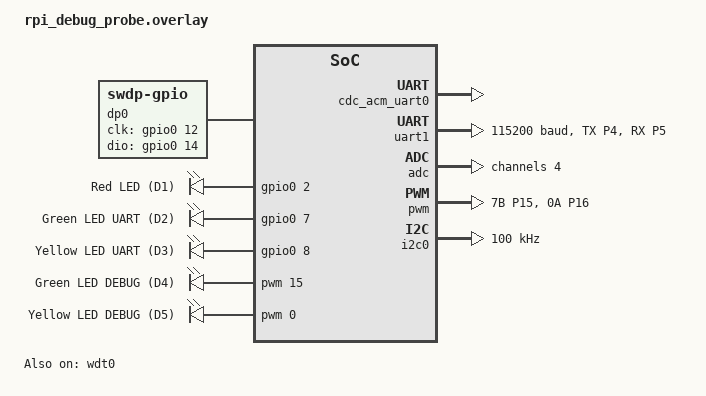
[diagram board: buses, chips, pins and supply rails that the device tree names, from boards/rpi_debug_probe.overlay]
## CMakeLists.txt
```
# SPDX-License-Identifier: AGPL-3.0-or-later
# Copyright (c) 2025 Vincent Jardin

cmake_minimum_required(VERSION 3.20.0)

find_package(Zephyr REQUIRED HINTS $ENV{ZEPHYR_BASE})
project(hello_bonjour)

# Include USB sample common code for manual USB device initialization
include(${ZEPHYR_BASE}/samples/subsys/usb/common/common.cmake)

target_sources(app PRIVATE
    src/main.c
    src/shell_cmds.c
    src/watchdog.c
    src/leds.c
)
```

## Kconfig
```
# SPDX-License-Identifier: AGPL-3.0-or-later
# Copyright (c) 2025 Vincent Jardin

mainmenu "Debug Probe Application"

# Source USB sample Kconfig for SAMPLE_USBD_* options
source "$(ZEPHYR_BASE)/samples/subsys/usb/common/Kconfig.sample_usbd"

source "Kconfig.zephyr"
```

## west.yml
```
manifest:
  remotes:
    - name: zephyrproject-rtos
      url-base: https://github.com/zephyrproject-rtos

  projects:
    - name: zephyr
      remote: zephyrproject-rtos
      revision: main
      import:
        name-allowlist:
          - cmsis
          - cmsis_6
          - hal_rpi_pico

  self:
    path: picoprobe-hello
```

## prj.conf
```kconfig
# SPDX-License-Identifier: AGPL-3.0-or-later
# Copyright (c) 2025 Vincent Jardin

# Enable console/UART output
CONFIG_CONSOLE=y
CONFIG_SERIAL=y
CONFIG_UART_CONSOLE=y
CONFIG_UART_LINE_CTRL=y
CONFIG_UART_INTERRUPT_DRIVEN=y

# Enable USB CDC for console (new USB device stack)
CONFIG_USB_DEVICE_STACK_NEXT=y
CONFIG_USBD_CDC_ACM_CLASS=y
# Disable automatic USB init - we initialize manually for DAP+CDC
CONFIG_CDC_ACM_SERIAL_INITIALIZE_AT_BOOT=n

# USB device sample configuration (for manual USB init)
CONFIG_SAMPLE_USBD_MANUFACTURER="RPi-vjardin"
CONFIG_SAMPLE_USBD_PRODUCT="Debug Probe DAP"
CONFIG_SAMPLE_USBD_VID=0x2E8A
CONFIG_SAMPLE_USBD_PID=0x000A
CONFIG_SAMPLE_USBD_20_EXTENSION_DESC=y

# Enable printk
CONFIG_PRINTK=y

# Enable GPIO for LED control
CONFIG_GPIO=y

# Enable Zephyr Shell
CONFIG_SHELL=y
CONFIG_SHELL_BACKEND_SERIAL=y
CONFIG_SHELL_PROMPT_UART="debug-probe:~$ "

# Shell features
CONFIG_SHELL_CMDS=y
CONFIG_SHELL_TAB=y
CONFIG_SHELL_TAB_AUTOCOMPLETION=y
CONFIG_SHELL_HISTORY=y
CONFIG_SHELL_HISTORY_BUFFER=512
CONFIG_SHELL_HELP=y
CONFIG_SHELL_VT100_COLORS=y
CONFIG_SHELL_METAKEYS=y
CONFIG_SHELL_WILDCARD=y

# Useful built-in commands
CONFIG_KERNEL_SHELL=y
CONFIG_DEVICE_SHELL=y
CONFIG_DATE_SHELL=y
CONFIG_REBOOT=y

# GPIO shell - direct pin control
CONFIG_GPIO_SHELL=y

# Hardware info - device ID, reset cause
CONFIG_HWINFO=y
CONFIG_HWINFO_SHELL=y

# Flash shell - read/write/erase flash
CONFIG_FLASH=y
CONFIG_FLASH_PAGE_LAYOUT=y
CONFIG_FLASH_SHELL=y

# USB device shell - control USB stack
CONFIG_USBD_SHELL=y

# Logging with shell control
CONFIG_LOG=y
CONFIG_LOG_CMDS=y
CONFIG_SHELL_LOG_BACKEND=y

# Suppress CDC ACM log warning (logging disabled to prevent recursion when used as console)
CONFIG_USBD_CDC_ACM_LOG_LEVEL_OFF=y

# CRC shell - checksum utilities
CONFIG_CRC=y
CONFIG_CRC_SHELL=y

# PWM shell - LED brightness control
CONFIG_PWM=y
CONFIG_PWM_SHELL=y

# ADC shell - internal temperature sensor
CONFIG_ADC=y
CONFIG_ADC_SHELL=y

# I2C shell - bus scanning
CONFIG_I2C=y
CONFIG_I2C_SHELL=y

# Watchdog shell
CONFIG_WATCHDOG=y
CONFIG_WDT_SHELL=y

# POSIX uname command
CONFIG_POSIX_API=y
CONFIG_POSIX_SINGLE_PROCESS=y
CONFIG_POSIX_UNAME_SHELL=y

# Increase stack for shell
CONFIG_MAIN_STACK_SIZE=2048

# CMSIS-DAP Debug Access Port
CONFIG_DAP=y
CONFIG_DAP_BACKEND_USB=y
CONFIG_CMSIS_DAP_PROBE_VENDOR="RPi-vjardin"
CONFIG_CMSIS_DAP_PROBE_NAME="Debug Probe DAP"
```

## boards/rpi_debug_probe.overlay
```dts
/*
 * SPDX-License-Identifier: AGPL-3.0-or-later
 * Copyright (c) 2025 Vincent Jardin
 *
 * Device tree overlay for Raspberry Pi Debug Probe
 * Routes console/shell to USB CDC ACM
 * Configures UART1 (GPIO4=TX, GPIO5=RX) for Bonjour output on J2 connector
 * Defines all 5 LEDs on the Debug Probe board
 */

#include <zephyr/dt-bindings/gpio/gpio.h>
#include <zephyr/dt-bindings/pwm/pwm.h>
#include <zephyr/dt-bindings/pinctrl/rpi-pico-rp2040-pinctrl.h>
#include <zephyr/dt-bindings/i2c/i2c.h>

/ {
	chosen {
		zephyr,console = &cdc_acm_uart0;
		zephyr,shell-uart = &cdc_acm_uart0;
	};

	/* SWD Debug Port for CMSIS-DAP (J3 connector) */
	dp0 {
		compatible = "zephyr,swdp-gpio";
		status = "okay";
		clk-gpios = <&gpio0 12 GPIO_ACTIVE_HIGH>;
		dio-gpios = <&gpio0 14 GPIO_PULL_UP>;
		port-write-cycles = <1>;
	};

	/* GPIO-controlled LEDs (accent LEDs) */
	leds {
		compatible = "gpio-leds";
		led_red: led_d1 {
			gpios = <&gpio0 2 GPIO_ACTIVE_HIGH>;
			label = "Red LED (D1)";
		};
		led_green_uart: led_d2 {
			gpios = <&gpio0 7 GPIO_ACTIVE_HIGH>;
			label = "Green LED UART (D2)";
		};
		led_yellow_uart: led_d3 {
			gpios = <&gpio0 8 GPIO_ACTIVE_HIGH>;
			label = "Yellow LED UART (D3)";
		};
	};

	/* PWM-controlled LEDs (debug LEDs with brightness control) */
	pwmleds {
		compatible = "pwm-leds";
		led_green_debug: led_d4 {
			pwms = <&pwm 15 PWM_MSEC(20) PWM_POLARITY_NORMAL>;
			label = "Green LED DEBUG (D4)";
		};
		led_yellow_debug: led_d5 {
			pwms = <&pwm 0 PWM_MSEC(20) PWM_POLARITY_NORMAL>;
			label = "Yellow LED DEBUG (D5)";
		};
	};

	aliases {
		led-red = &led_red;
		led-green-uart = &led_green_uart;
		led-yellow-uart = &led_yellow_uart;
		led-green-debug = &led_green_debug;
		led-yellow-debug = &led_yellow_debug;
		pwm-led0 = &led_green_debug;
		pwm-led1 = &led_yellow_debug;
	};
};

&zephyr_udc0 {
	cdc_acm_uart0: cdc_acm_uart0 {
		compatible = "zephyr,cdc-acm-uart";
	};
};

&uart1 {
	status = "okay";
	current-speed = <115200>;
	pinctrl-0 = <&uart1_default>;
	pinctrl-names = "default";
};

&pinctrl {
	uart1_default: uart1_default {
		group1 {
			pinmux = <UART1_TX_P4>;
		};
		group2 {
			pinmux = <UART1_RX_P5>;
			input-enable;
		};
	};

	/* PWM for debug LEDs brightness control */
	pwm_debug_leds: pwm_debug_leds {
		group1 {
			pinmux = <PWM_7B_P15>,  /* D4 Green DEBUG - GPIO15 */
				 <PWM_0A_P16>; /* D5 Yellow DEBUG - GPIO16 */
		};
	};
};

/* Enable ADC for internal temperature sensor (channel 4) */
&adc {
	status = "okay";
	#address-cells = <1>;
	#size-cells = <0>;

	channel@4 {
		reg = <4>;
		zephyr,gain = "ADC_GAIN_1";
		zephyr,reference = "ADC_REF_INTERNAL";
		zephyr,acquisition-time = <ADC_ACQ_TIME_DEFAULT>;
		zephyr,resolution = <12>;
	};
};

/* Enable PWM for debug LED brightness control */
&pwm {
	status = "okay";
	pinctrl-0 = <&pwm_debug_leds>;
	pinctrl-names = "default";
};

/* Enable I2C0 for shell access */
&i2c0 {
	status = "okay";
	clock-frequency = <I2C_BITRATE_STANDARD>;
};

/* Enable watchdog - must be fed in main loop */
&wdt0 {
	status = "okay";
};
```

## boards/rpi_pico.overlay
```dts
/*
 * SPDX-License-Identifier: AGPL-3.0-or-later
 * Copyright (c) 2025 Vincent Jardin
 *
 * Device tree overlay for Raspberry Pi Debug Probe
 * Routes console/shell to USB CDC ACM
 * Configures UART1 (GPIO4=TX, GPIO5=RX) for Bonjour output on J2 connector
 * Defines all 5 LEDs on the Debug Probe board
 */

/ {
	chosen {
		zephyr,console = &cdc_acm_uart0;
		zephyr,shell-uart = &cdc_acm_uart0;
	};

	/* GPIO-controlled LEDs (accent LEDs) */
	leds {
		compatible = "gpio-leds";
		led_red: led_d1 {
			gpios = <&gpio0 2 GPIO_ACTIVE_HIGH>;
			label = "Red LED (D1)";
		};
		led_green_uart: led_d2 {
			gpios = <&gpio0 7 GPIO_ACTIVE_HIGH>;
			label = "Green LED UART (D2)";
		};
		led_yellow_uart: led_d3 {
			gpios = <&gpio0 8 GPIO_ACTIVE_HIGH>;
			label = "Yellow LED UART (D3)";
		};
	};

	/* PWM-controlled LEDs (debug LEDs with brightness control) */
	pwmleds {
		compatible = "pwm-leds";
		led_green_debug: led_d4 {
			pwms = <&pwm 15 PWM_MSEC(20) PWM_POLARITY_NORMAL>;
			label = "Green LED DEBUG (D4)";
		};
		led_yellow_debug: led_d5 {
			pwms = <&pwm 0 PWM_MSEC(20) PWM_POLARITY_NORMAL>;
			label = "Yellow LED DEBUG (D5)";
		};
	};

	aliases {
		led-red = &led_red;
		led-green-uart = &led_green_uart;
		led-yellow-uart = &led_yellow_uart;
		led-green-debug = &led_green_debug;
		led-yellow-debug = &led_yellow_debug;
		pwm-led0 = &led_green_debug;
		pwm-led1 = &led_yellow_debug;
	};
};

&zephyr_udc0 {
	cdc_acm_uart0: cdc_acm_uart0 {
		compatible = "zephyr,cdc-acm-uart";
	};
};

&uart1 {
	status = "okay";
	current-speed = <115200>;
	pinctrl-0 = <&uart1_default>;
	pinctrl-names = "default";
};

&pinctrl {
	uart1_default: uart1_default {
		group1 {
			pinmux = <UART1_TX_P4>;
		};
		group2 {
			pinmux = <UART1_RX_P5>;
			input-enable;
		};
	};

	/* PWM for debug LEDs brightness control */
	pwm_debug_leds: pwm_debug_leds {
		group1 {
			pinmux = <PWM_7B_P15>,  /* D4 Green DEBUG - GPIO15 */
				 <PWM_0A_P16>; /* D5 Yellow DEBUG - GPIO16 */
		};
	};
};

/* Enable ADC for internal temperature sensor (channel 4) */
&adc {
	status = "okay";
	#address-cells = <1>;
	#size-cells = <0>;

	channel@4 {
		reg = <4>;
		zephyr,gain = "ADC_GAIN_1";
		zephyr,reference = "ADC_REF_INTERNAL";
		zephyr,acquisition-time = <ADC_ACQ_TIME_DEFAULT>;
		zephyr,resolution = <12>;
	};
};

/* Enable PWM for debug LED brightness control */
&pwm {
	status = "okay";
	pinctrl-0 = <&pwm_debug_leds>;
	pinctrl-names = "default";
};

/* Enable I2C0 for shell access */
&i2c0 {
	status = "okay";
};

/* Enable watchdog - must be fed in main loop */
&wdt0 {
	status = "okay";
};
```

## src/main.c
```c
/*
 * SPDX-License-Identifier: AGPL-3.0-or-later
 * Copyright (c) 2025 Vincent Jardin
 */

#include <zephyr/kernel.h>
#include <zephyr/device.h>
#include <zephyr/drivers/uart.h>
#include <zephyr/irq.h>
#include <zephyr/sys/byteorder.h>
#include <zephyr/usb/usbd.h>
#include <zephyr/usb/bos.h>
#include <zephyr/usb/msos_desc.h>
#include <hardware/structs/ioqspi.h>
#include <hardware/structs/sio.h>

#include <zephyr/logging/log.h>
LOG_MODULE_REGISTER(main, LOG_LEVEL_INF);

#include <sample_usbd.h>
#include <cmsis_dap.h>

#include "msosv2.h"
#include "webusb.h"
#include "leds.h"
#include "watchdog.h"

/* Bonjour state from shell_cmds.c */
extern bool bonjour_enabled;

/* UART1 device for Bonjour output on J2 connector */
static const struct device *const uart1_dev = DEVICE_DT_GET(DT_NODELABEL(uart1));

/* Send string to UART1 (J2 connector) */
static void uart1_print(const char *str)
{
	while (*str) {
		uart_poll_out(uart1_dev, *str++);
	}
}

/*
 * Read BOOTSEL button state.
 *
 * The BOOTSEL button is wired to QSPI_SS (flash chip select). To read it,
 * we must temporarily disable flash access. This is dangerous because the
 * CPU normally fetches instructions from flash (XIP = eXecute In Place).
 *
 * The __ramfunc attribute places this function in RAM instead of flash.
 * At startup, the code is copied from flash to RAM. When called, the CPU
 * executes from RAM, allowing us to safely disable flash during the read.
 *
 * The sequence is:
 *   1. Disable interrupts (ISRs in flash would crash if flash is disabled)
 *   2. Override QSPI_SS pin to act as GPIO input (this disables flash!)
 *   3. Short delay for the signal to settle
 *   4. Read button state from the QSPI GPIO bank
 *   5. Restore QSPI_SS to normal operation (re-enables flash)
 *   6. Re-enable interrupts
 *
 * Without __ramfunc, the CPU would crash immediately when trying to fetch
 * the next instruction from the now-disabled flash.
 */
static bool __ramfunc get_bootsel_button(void)
{
	const uint32_t CS_PIN_INDEX = 1;
	unsigned int key = irq_lock();

	/*
	 * Set QSPI_SS output override to LOW (value 2).
	 * This drives the chip select low, disabling flash, so we can
	 * read the button state on that pin. The OEOVER field is bits 13:12.
	 */
	uint32_t oeover_low = 2u << IO_QSPI_GPIO_QSPI_SS_CTRL_OEOVER_LSB;
	hw_write_masked(&ioqspi_hw->io[CS_PIN_INDEX].ctrl,
			oeover_low,
			IO_QSPI_GPIO_QSPI_SS_CTRL_OEOVER_BITS);

	/* Short delay for the signal to settle */
	for (volatile int i = 0; i < 1000; ++i) {
		;
	}

	/* Read the button state (pressed = low = 0) */
	bool button_state = !(sio_hw->gpio_hi_in & (1u << CS_PIN_INDEX));

	/*
	 * Restore QSPI_SS output override to NORMAL (value 0).
	 * This re-enables normal flash operation.
	 */
	hw_write_masked(&ioqspi_hw->io[CS_PIN_INDEX].ctrl,
			0u,
			IO_QSPI_GPIO_QSPI_SS_CTRL_OEOVER_BITS);

	irq_unlock(key);

	return button_state;
}

int main(void)
{
	int ret;
	const struct device *const console_dev =
		DEVICE_DT_GET(DT_CHOSEN(zephyr_console));
	const struct device *const swd_dev =
		DEVICE_DT_GET_ONE(zephyr_swdp_gpio);
	struct usbd_context *sample_usbd;
	uint32_t dtr = 0;
	bool bootsel_msg_shown = false;

	/* Initialize CMSIS-DAP with the SWD device */
	ret = dap_setup(swd_dev);
	if (ret) {
		printk("Failed to initialize DAP: %d\n", ret);
		return ret;
	}

	/* Setup USB device with all registered classes (CDC ACM + DAP) */
	sample_usbd = sample_usbd_setup_device(NULL);
	if (sample_usbd == NULL) {
		printk("Failed to setup USB device\n");
		return -ENODEV;
	}

	/* Add MSOS v2 descriptor for automatic WinUSB driver on Windows */
	ret = usbd_add_descriptor(sample_usbd, &bos_vreq_msosv2);
	if (ret) {
		printk("Failed to add MSOS v2 descriptor: %d\n", ret);
		return ret;
	}

	/* Add WebUSB descriptor for browser-based debugging tools */
	ret = usbd_add_descriptor(sample_usbd, &bos_vreq_webusb);
	if (ret) {
		printk("Failed to add WebUSB descriptor: %d\n", ret);
		return ret;
	}

	ret = usbd_init(sample_usbd);
	if (ret) {
		printk("Failed to initialize USB: %d\n", ret);
		return ret;
	}

	ret = usbd_enable(sample_usbd);
	if (ret) {
		printk("Failed to enable USB: %d\n", ret);
		return ret;
	}

	/*
	 * Wait for DTR (terminal connected) before starting.
	 * Timeout after 3 seconds to allow simulation without DTR support.
	 */
	if (device_is_ready(console_dev)) {
		int dtr_timeout = 30; /* 30 * 100ms = 3 seconds */

		while (!dtr && dtr_timeout > 0) {
			uart_line_ctrl_get(console_dev, UART_LINE_CTRL_DTR,
					   &dtr);
			k_sleep(K_MSEC(100));
			dtr_timeout--;
		}
	}

	/* Check UART1 for Bonjour output */
	if (!device_is_ready(uart1_dev)) {
		printk("UART1 device not ready\n");
	}

	printk("Starting Debug Probe LED demo...\n");
	printk("Note: I2C shell disabled - GPIO4/5 used by UART1 (J2 connector)\n");

	/* Initialize LEDs */
	ret = leds_init();
	if (ret < 0) {
		return ret;
	}

	/* Initialize watchdog */
	watchdog_init();

	uint32_t loop_count = 0;

	while (1) {
		/* Check BOOTSEL button and Bonjour ~once per second (64ms * 16 = 1024ms) */
		if ((loop_count & 0x0F) == 0) {
			if (get_bootsel_button()) {
				if (!bootsel_msg_shown) {
					printk("BOOTSEL pressed, "
					       "unplug/plug USB to flash a new firmware\n");
					bootsel_msg_shown = true;
				}
			} else {
				bootsel_msg_shown = false;
				if (bonjour_enabled) {
					uart1_print("Bonjour\r\n");
				}
			}

			/* Toggle GPIO LEDs once per second */
			leds_gpio_toggle();
		}

		/* Update PWM LEDs with breathing effect */
		leds_pwm_update();

		/* Feed the watchdog to prevent reset */
		watchdog_feed();

		loop_count++;
		k_sleep(K_MSEC(64));
	}

	return 0;
}
```

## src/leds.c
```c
/*
 * SPDX-License-Identifier: AGPL-3.0-or-later
 * Copyright (c) 2025 Vincent Jardin
 *
 * LED management for Debug Probe
 */

#include <zephyr/kernel.h>
#include <zephyr/drivers/gpio.h>
#include <zephyr/drivers/pwm.h>
#include <zephyr/shell/shell.h>
#include <stdlib.h>

#include "leds.h"

/* GPIO-controlled LEDs (accent LEDs: D1, D2, D3) */
#define NUM_GPIO_LEDS 3

static const struct gpio_dt_spec gpio_leds[NUM_GPIO_LEDS] = {
	GPIO_DT_SPEC_GET(DT_ALIAS(led_red), gpios),
	GPIO_DT_SPEC_GET(DT_ALIAS(led_green_uart), gpios),
	GPIO_DT_SPEC_GET(DT_ALIAS(led_yellow_uart), gpios),
};

/* PWM-controlled LEDs (debug LEDs: D4, D5) with brightness control */
#define NUM_PWM_LEDS 2

static const struct pwm_dt_spec pwm_leds[NUM_PWM_LEDS] = {
	PWM_DT_SPEC_GET(DT_ALIAS(pwm_led0)),
	PWM_DT_SPEC_GET(DT_ALIAS(pwm_led1)),
};

/* PWM brightness state */
static uint32_t pwm_brightness[NUM_PWM_LEDS] = {0, 0};
static uint32_t breathing_brightness = 0;
static bool breathing_increasing = true;
static bool breathing_enabled = true;

#define PWM_STEP 5
#define PWM_MAX 100

int leds_init(void)
{
	int ret;

	/* Initialize GPIO LEDs (D1, D2, D3) */
	for (int i = 0; i < NUM_GPIO_LEDS; i++) {
		if (!gpio_is_ready_dt(&gpio_leds[i])) {
			printk("GPIO LED%d not ready\n", i);
			return -ENODEV;
		}

		ret = gpio_pin_configure_dt(&gpio_leds[i], GPIO_OUTPUT_ACTIVE);
		if (ret < 0) {
			printk("Failed to configure GPIO LED%d: %d\n", i, ret);
			return ret;
		}
	}

	/* Initialize PWM LEDs (D4, D5) */
	for (int i = 0; i < NUM_PWM_LEDS; i++) {
		if (!pwm_is_ready_dt(&pwm_leds[i])) {
			printk("PWM LED%d not ready\n", i);
			return -ENODEV;
		}
	}

	printk("LEDs initialized (3 GPIO + 2 PWM)\n");
	return 0;
}

void leds_gpio_toggle(void)
{
	for (int i = 0; i < NUM_GPIO_LEDS; i++) {
		gpio_pin_toggle_dt(&gpio_leds[i]);
	}
}

void leds_pwm_update(void)
{
	if (breathing_enabled) {
		/* Update breathing brightness */
		if (breathing_increasing) {
			breathing_brightness += PWM_STEP;
			if (breathing_brightness >= PWM_MAX) {
				breathing_brightness = PWM_MAX;
				breathing_increasing = false;
			}
		} else {
			breathing_brightness -= PWM_STEP;
			if (breathing_brightness == 0) {
				breathing_increasing = true;
			}
		}

		/* Apply breathing to both PWM LEDs */
		for (int i = 0; i < NUM_PWM_LEDS; i++) {
			pwm_brightness[i] = breathing_brightness;
			uint32_t pulse = (pwm_leds[i].period * breathing_brightness) / PWM_MAX;
			pwm_set_pulse_dt(&pwm_leds[i], pulse);
		}
	}
}

int leds_pwm_set_brightness(int led, uint32_t brightness)
{
	if (led < 0 || led >= NUM_PWM_LEDS) {
		return -EINVAL;
	}

	if (brightness > PWM_MAX) {
		brightness = PWM_MAX;
	}

	pwm_brightness[led] = brightness;
	uint32_t pulse = (pwm_leds[led].period * brightness) / PWM_MAX;
	return pwm_set_pulse_dt(&pwm_leds[led], pulse);
}

int leds_pwm_get_brightness(int led)
{
	if (led < 0 || led >= NUM_PWM_LEDS) {
		return -EINVAL;
	}

	return pwm_brightness[led];
}

void leds_pwm_set_breathing(bool enable)
{
	breathing_enabled = enable;
}

bool leds_pwm_get_breathing(void)
{
	return breathing_enabled;
}

/* Shell commands */

static int cmd_led_status(const struct shell *sh, size_t argc, char **argv)
{
	shell_print(sh, "GPIO LEDs: D1 (red), D2 (green), D3 (yellow) - toggling");
	shell_print(sh, "PWM LEDs:");
	shell_print(sh, "  D4 (green debug): %d%%", pwm_brightness[0]);
	shell_print(sh, "  D5 (yellow debug): %d%%", pwm_brightness[1]);
	shell_print(sh, "Breathing: %s", breathing_enabled ? "enabled" : "disabled");

	return 0;
}

static int cmd_led_brightness(const struct shell *sh, size_t argc, char **argv)
{
	if (argc < 3) {
		shell_error(sh, "Usage: led brightness <led> <0-100>");
		shell_print(sh, "  led: 0 = D4 (green), 1 = D5 (yellow)");
		return -EINVAL;
	}

	int led = atoi(argv[1]);
	int brightness = atoi(argv[2]);

	if (led < 0 || led > 1) {
		shell_error(sh, "Invalid LED: %d (use 0 or 1)", led);
		return -EINVAL;
	}

	if (brightness < 0 || brightness > 100) {
		shell_error(sh, "Invalid brightness: %d (use 0-100)", brightness);
		return -EINVAL;
	}

	/* Disable breathing when manually setting brightness */
	breathing_enabled = false;

	int ret = leds_pwm_set_brightness(led, brightness);
	if (ret < 0) {
		shell_error(sh, "Failed to set brightness: %d", ret);
		return ret;
	}

	shell_print(sh, "D%d brightness set to %d%% (breathing disabled)",
		    led == 0 ? 4 : 5, brightness);

	return 0;
}

static int cmd_led_breathing(const struct shell *sh, size_t argc, char **argv)
{
	if (argc < 2) {
		shell_print(sh, "Breathing: %s", breathing_enabled ? "enabled" : "disabled");
		return 0;
	}

	if (strcmp(argv[1], "on") == 0) {
		breathing_enabled = true;
		shell_print(sh, "Breathing enabled");
	} else if (strcmp(argv[1], "off") == 0) {
		breathing_enabled = false;
		shell_print(sh, "Breathing disabled");
	} else {
		shell_error(sh, "Usage: led breathing [on|off]");
		return -EINVAL;
	}

	return 0;
}

SHELL_STATIC_SUBCMD_SET_CREATE(sub_led,
	SHELL_CMD(status, NULL, "Show LED status", cmd_led_status),
	SHELL_CMD(brightness, NULL, "Set PWM LED brightness: led brightness <0|1> <0-100>",
		  cmd_led_brightness),
	SHELL_CMD(breathing, NULL, "Control breathing effect: led breathing [on|off]",
		  cmd_led_breathing),
	SHELL_SUBCMD_SET_END
);

SHELL_CMD_REGISTER(led, &sub_led, "LED control commands", NULL);
```

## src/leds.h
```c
/*
 * SPDX-License-Identifier: AGPL-3.0-or-later
 * Copyright (c) 2025 Vincent Jardin
 *
 * LED management for Debug Probe
 */

#ifndef LEDS_H
#define LEDS_H

#include <stdint.h>

/**
 * Initialize all LEDs (GPIO and PWM).
 *
 * @return 0 on success, negative error code on failure
 */
int leds_init(void);

/**
 * Toggle GPIO LEDs (D1, D2, D3).
 * Called periodically from main loop.
 */
void leds_gpio_toggle(void);

/**
 * Update PWM LEDs (D4, D5) brightness.
 * Called periodically from main loop for breathing effect.
 */
void leds_pwm_update(void);

/**
 * Set PWM LED brightness directly.
 *
 * @param led LED index (0 = D4 green, 1 = D5 yellow)
 * @param brightness Brightness level 0-100 (percent)
 * @return 0 on success, negative error code on failure
 */
int leds_pwm_set_brightness(int led, uint32_t brightness);

/**
 * Get current PWM LED brightness.
 *
 * @param led LED index (0 = D4 green, 1 = D5 yellow)
 * @return Brightness level 0-100, or negative error code
 */
int leds_pwm_get_brightness(int led);

/**
 * Enable or disable automatic breathing effect.
 *
 * @param enable true to enable breathing, false to disable
 */
void leds_pwm_set_breathing(bool enable);

/**
 * Check if breathing effect is enabled.
 *
 * @return true if breathing is enabled
 */
bool leds_pwm_get_breathing(void);

#endif /* LEDS_H */
```

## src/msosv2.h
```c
/*
 * SPDX-License-Identifier: Apache-2.0
 * Copyright (c) 2016-2019 Intel Corporation
 * Copyright (c) 2023-2024 Nordic Semiconductor ASA
 */

#ifndef MSOSV2_DESCRIPTOR_H
#define MSOSV2_DESCRIPTOR_H

/*
 * Microsoft OS 2.0 platform capability and Microsoft OS 2.0 descriptor set.
 * See Microsoft OS 2.0 Descriptors Specification for reference.
 *
 * This enables automatic WinUSB driver binding on Windows 10+ without
 * requiring manual driver installation (e.g., Zadig).
 */

#define SAMPLE_MSOS2_VENDOR_CODE	0x02U
/* Windows version (10) */
#define SAMPLE_MSOS2_OS_VERSION		0x0A000000UL

/* CMSIS-DAP v2 Device Interface GUID: {CDB3B5AD-293B-4663-AA36-1AAE46463776} */
#define CMSIS_DAP_V2_DEVICE_INTERFACE_GUID \
	'{', 0x00, 'C', 0x00, 'D', 0x00, 'B', 0x00, '3', 0x00, 'B', 0x00, \
	'5', 0x00, 'A', 0x00, 'D', 0x00, '-', 0x00, '2', 0x00, '9', 0x00, \
	'3', 0x00, 'B', 0x00, '-', 0x00, '4', 0x00, '6', 0x00, '6', 0x00, \
	'3', 0x00, '-', 0x00, 'A', 0x00, 'A', 0x00, '3', 0x00, '6', 0x00, \
	'-', 0x00, '1', 0x00, 'A', 0x00, 'A', 0x00, 'E', 0x00, '4', 0x00, \
	'6', 0x00, '4', 0x00, '6', 0x00, '3', 0x00, '7', 0x00, '7', 0x00, \
	'6', 0x00, '}', 0x00, 0x00, 0x00, 0x00, 0x00

#define CDC_ACM_DESCRIPTOR_LENGTH 160

struct msosv2_descriptor {
	struct msosv2_descriptor_set_header header;
#if defined(CONFIG_USBD_CDC_ACM_CLASS)
	/*
	 * Function subset header to skip CDC ACM interfaces.
	 * CDC ACM uses Windows' built-in usbser.sys driver.
	 */
	struct msosv2_function_subset_header subset_header;
#endif
	struct msosv2_compatible_id compatible_id;
	struct msosv2_guids_property guids_property;
} __packed;

static struct msosv2_descriptor msosv2_desc = {
	.header = {
		.wLength = sizeof(struct msosv2_descriptor_set_header),
		.wDescriptorType = MS_OS_20_SET_HEADER_DESCRIPTOR,
		.dwWindowsVersion = sys_cpu_to_le32(SAMPLE_MSOS2_OS_VERSION),
		.wTotalLength = sizeof(msosv2_desc),
	},
#if defined(CONFIG_USBD_CDC_ACM_CLASS)
	.subset_header = {
		.wLength = sizeof(struct msosv2_function_subset_header),
		.wDescriptorType = MS_OS_20_SUBSET_HEADER_FUNCTION,
		.bFirstInterface = 0,
		.wSubsetLength = CDC_ACM_DESCRIPTOR_LENGTH,
	},
#endif
	.compatible_id = {
		.wLength = sizeof(struct msosv2_compatible_id),
		.wDescriptorType = MS_OS_20_FEATURE_COMPATIBLE_ID,
		.CompatibleID = {'W', 'I', 'N', 'U', 'S', 'B', 0x00, 0x00},
	},
	.guids_property = {
		.wLength = sizeof(struct msosv2_guids_property),
		.wDescriptorType = MS_OS_20_FEATURE_REG_PROPERTY,
		.wPropertyDataType = MS_OS_20_PROPERTY_DATA_REG_MULTI_SZ,
		.wPropertyNameLength = 42,
		.PropertyName = {DEVICE_INTERFACE_GUIDS_PROPERTY_NAME},
		.wPropertyDataLength = 80,
		.bPropertyData = {CMSIS_DAP_V2_DEVICE_INTERFACE_GUID},
	},
};

struct bos_msosv2_descriptor {
	struct usb_bos_platform_descriptor platform;
	struct usb_bos_capability_msos cap;
} __packed;

struct bos_msosv2_descriptor bos_msosv2_desc = {
	/*
	 * Microsoft OS 2.0 Platform Capability Descriptor,
	 * see Microsoft OS 2.0 Descriptors Specification
	 */
	.platform = {
		.bLength = sizeof(struct usb_bos_platform_descriptor)
			 + sizeof(struct usb_bos_capability_msos),
		.bDescriptorType = USB_DESC_DEVICE_CAPABILITY,
		.bDevCapabilityType = USB_BOS_CAPABILITY_PLATFORM,
		.bReserved = 0,
		/* Microsoft OS 2.0 descriptor platform capability UUID
		 * D8DD60DF-4589-4CC7-9CD2-659D9E648A9F
		 */
		.PlatformCapabilityUUID = {
			0xDF, 0x60, 0xDD, 0xD8,
			0x89, 0x45,
			0xC7, 0x4C,
			0x9C, 0xD2,
			0x65, 0x9D, 0x9E, 0x64, 0x8A, 0x9F,
		},
	},
	.cap = {
		.dwWindowsVersion = sys_cpu_to_le32(SAMPLE_MSOS2_OS_VERSION),
		.wMSOSDescriptorSetTotalLength = sys_cpu_to_le16(sizeof(msosv2_desc)),
		.bMS_VendorCode = SAMPLE_MSOS2_VENDOR_CODE,
		.bAltEnumCode = 0x00
	},
};

static int msosv2_to_host_cb(const struct usbd_context *const ctx,
			     const struct usb_setup_packet *const setup,
			     struct net_buf *const buf)
{
	LOG_DBG("MSOS v2 vendor callback");

	if (setup->bRequest == SAMPLE_MSOS2_VENDOR_CODE &&
	    setup->wIndex == MS_OS_20_DESCRIPTOR_INDEX) {
		LOG_INF("Get MS OS 2.0 Descriptor Set");

		net_buf_add_mem(buf, &msosv2_desc,
				MIN(net_buf_tailroom(buf), sizeof(msosv2_desc)));

		return 0;
	}

	return -ENOTSUP;
}

USBD_DESC_BOS_VREQ_DEFINE(bos_vreq_msosv2, sizeof(bos_msosv2_desc), &bos_msosv2_desc,
			  SAMPLE_MSOS2_VENDOR_CODE, msosv2_to_host_cb, NULL);

#endif /* MSOSV2_DESCRIPTOR_H */
```

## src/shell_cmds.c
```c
/*
 * SPDX-License-Identifier: AGPL-3.0-or-later
 * Copyright (c) 2025 Vincent Jardin
 */

#include <zephyr/shell/shell.h>

/* Bonjour message state - can be toggled via shell */
bool bonjour_enabled;

static int cmd_bonjour_on(const struct shell *sh, size_t argc, char **argv)
{
	bonjour_enabled = true;
	shell_print(sh, "Bonjour message enabled");
	return 0;
}

static int cmd_bonjour_off(const struct shell *sh, size_t argc, char **argv)
{
	bonjour_enabled = false;
	shell_print(sh, "Bonjour message disabled");
	return 0;
}

SHELL_STATIC_SUBCMD_SET_CREATE(sub_bonjour,
	SHELL_CMD(on, NULL, "Enable Bonjour message", cmd_bonjour_on),
	SHELL_CMD(off, NULL, "Disable Bonjour message", cmd_bonjour_off),
	SHELL_SUBCMD_SET_END
);

SHELL_CMD_REGISTER(bonjour, &sub_bonjour, "Bonjour message control", NULL);
```

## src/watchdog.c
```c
/*
 * SPDX-License-Identifier: AGPL-3.0-or-later
 * Copyright (c) 2025 Vincent Jardin
 *
 * Watchdog management for Debug Probe
 */

#include <zephyr/kernel.h>
#include <zephyr/drivers/watchdog.h>

#include "watchdog.h"

/* Watchdog timeout in milliseconds */
#define WDT_TIMEOUT_MS 5000

/* Watchdog device */
static const struct device *const wdt_dev = DEVICE_DT_GET(DT_NODELABEL(wdt0));
static int wdt_channel_id = -1;

/**
 * Initialize the watchdog with a 5 second timeout.
 * The watchdog will reset the system if not fed within the timeout.
 *
 * @return 0 on success, negative error code on failure
 */
int watchdog_init(void)
{
	int ret;

	if (!device_is_ready(wdt_dev)) {
		printk("Watchdog device not ready\n");
		return -ENODEV;
	}

	struct wdt_timeout_cfg wdt_cfg = {
		.window.min = 0,
		.window.max = WDT_TIMEOUT_MS,
		.callback = NULL,
		.flags = WDT_FLAG_RESET_SOC,
	};

	wdt_channel_id = wdt_install_timeout(wdt_dev, &wdt_cfg);
	if (wdt_channel_id < 0) {
		printk("Watchdog install failed: %d\n", wdt_channel_id);
		return wdt_channel_id;
	}

	ret = wdt_setup(wdt_dev, WDT_OPT_PAUSE_HALTED_BY_DBG);
	if (ret != 0) {
		printk("Watchdog setup failed: %d\n", ret);
		wdt_channel_id = -1;
		return ret;
	}

	printk("Watchdog started (%d ms timeout)\n", WDT_TIMEOUT_MS);
	return 0;
}

/**
 * Feed the watchdog to prevent system reset.
 * Should be called periodically from the main loop.
 */
void watchdog_feed(void)
{
	if (wdt_channel_id >= 0) {
		wdt_feed(wdt_dev, wdt_channel_id);
	}
}
```

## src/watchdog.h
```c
/*
 * SPDX-License-Identifier: AGPL-3.0-or-later
 * Copyright (c) 2025 Vincent Jardin
 *
 * Watchdog management for Debug Probe
 */

#ifndef WATCHDOG_H
#define WATCHDOG_H

/**
 * Initialize the watchdog with a 5 second timeout.
 * The watchdog will reset the system if not fed within the timeout.
 *
 * @return 0 on success, negative error code on failure
 */
int watchdog_init(void);

/**
 * Feed the watchdog to prevent system reset.
 * Should be called periodically from the main loop.
 */
void watchdog_feed(void);

#endif /* WATCHDOG_H */
```

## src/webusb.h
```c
/*
 * SPDX-License-Identifier: Apache-2.0
 * Copyright (c) 2016-2019 Intel Corporation
 * Copyright (c) 2023-2024 Nordic Semiconductor ASA
 */

#ifndef WEBUSB_DESCRIPTOR_H
#define WEBUSB_DESCRIPTOR_H

/*
 * WebUSB platform capability and WebUSB URL descriptor.
 * See https://wicg.github.io/webusb for reference.
 *
 * This enables browser-based debugging tools to access the DAP probe
 * directly from a web page (Chrome/Edge with WebUSB support).
 */

#define WEBUSB_REQ_GET_URL		0x02U
#define WEBUSB_DESC_TYPE_URL		0x03U
#define WEBUSB_URL_PREFIX_HTTP		0x00U
#define WEBUSB_URL_PREFIX_HTTPS		0x01U

#define SAMPLE_WEBUSB_VENDOR_CODE	0x01U
#define SAMPLE_WEBUSB_LANDING_PAGE	0x01U

struct usb_bos_webusb_desc {
	struct usb_bos_platform_descriptor platform;
	struct usb_bos_capability_webusb cap;
} __packed;

static const struct usb_bos_webusb_desc bos_cap_webusb = {
	/* WebUSB Platform Capability Descriptor:
	 * https://wicg.github.io/webusb/#webusb-platform-capability-descriptor
	 */
	.platform = {
		.bLength = sizeof(struct usb_bos_platform_descriptor)
			 + sizeof(struct usb_bos_capability_webusb),
		.bDescriptorType = USB_DESC_DEVICE_CAPABILITY,
		.bDevCapabilityType = USB_BOS_CAPABILITY_PLATFORM,
		.bReserved = 0,
		/* WebUSB Platform Capability UUID
		 * 3408b638-09a9-47a0-8bfd-a0768815b665
		 */
		.PlatformCapabilityUUID = {
			0x38, 0xB6, 0x08, 0x34,
			0xA9, 0x09,
			0xA0, 0x47,
			0x8B, 0xFD,
			0xA0, 0x76, 0x88, 0x15, 0xB6, 0x65,
		},
	},
	.cap = {
		.bcdVersion = sys_cpu_to_le16(0x0100),
		.bVendorCode = SAMPLE_WEBUSB_VENDOR_CODE,
		.iLandingPage = SAMPLE_WEBUSB_LANDING_PAGE
	}
};

/* WebUSB URL Descriptor, see https://wicg.github.io/webusb/#webusb-descriptors */
static const uint8_t webusb_origin_url[] = {
	/* bLength, bDescriptorType, bScheme, UTF-8 encoded URL */
	0x2C, WEBUSB_DESC_TYPE_URL, WEBUSB_URL_PREFIX_HTTPS,
	'g', 'i', 't', 'h', 'u', 'b', '.', 'c', 'o', 'm', '/',
	'v', 'j', 'a', 'r', 'd', 'i', 'n', '/',
	'z', 'e', 'p', 'h', 'y', 'r', '-',
	'p', 'i', 'c', 'o', 'p', 'r', 'o', 'b', 'e', '-',
	'h', 'e', 'l', 'l', 'o',
};

static int webusb_to_host_cb(const struct usbd_context *const ctx,
			     const struct usb_setup_packet *const setup,
			     struct net_buf *const buf)
{
	LOG_DBG("WebUSB vendor callback");

	if (setup->wIndex == WEBUSB_REQ_GET_URL) {
		uint8_t index = USB_GET_DESCRIPTOR_INDEX(setup->wValue);

		if (index != SAMPLE_WEBUSB_LANDING_PAGE) {
			return -ENOTSUP;
		}

		LOG_INF("Get WebUSB URL request, index %u", index);
		net_buf_add_mem(buf, &webusb_origin_url,
				MIN(net_buf_tailroom(buf), sizeof(webusb_origin_url)));

		return 0;
	}

	return -ENOTSUP;
}

USBD_DESC_BOS_VREQ_DEFINE(bos_vreq_webusb, sizeof(bos_cap_webusb), &bos_cap_webusb,
			  SAMPLE_WEBUSB_VENDOR_CODE, webusb_to_host_cb, NULL);

#endif /* WEBUSB_DESCRIPTOR_H */
```
